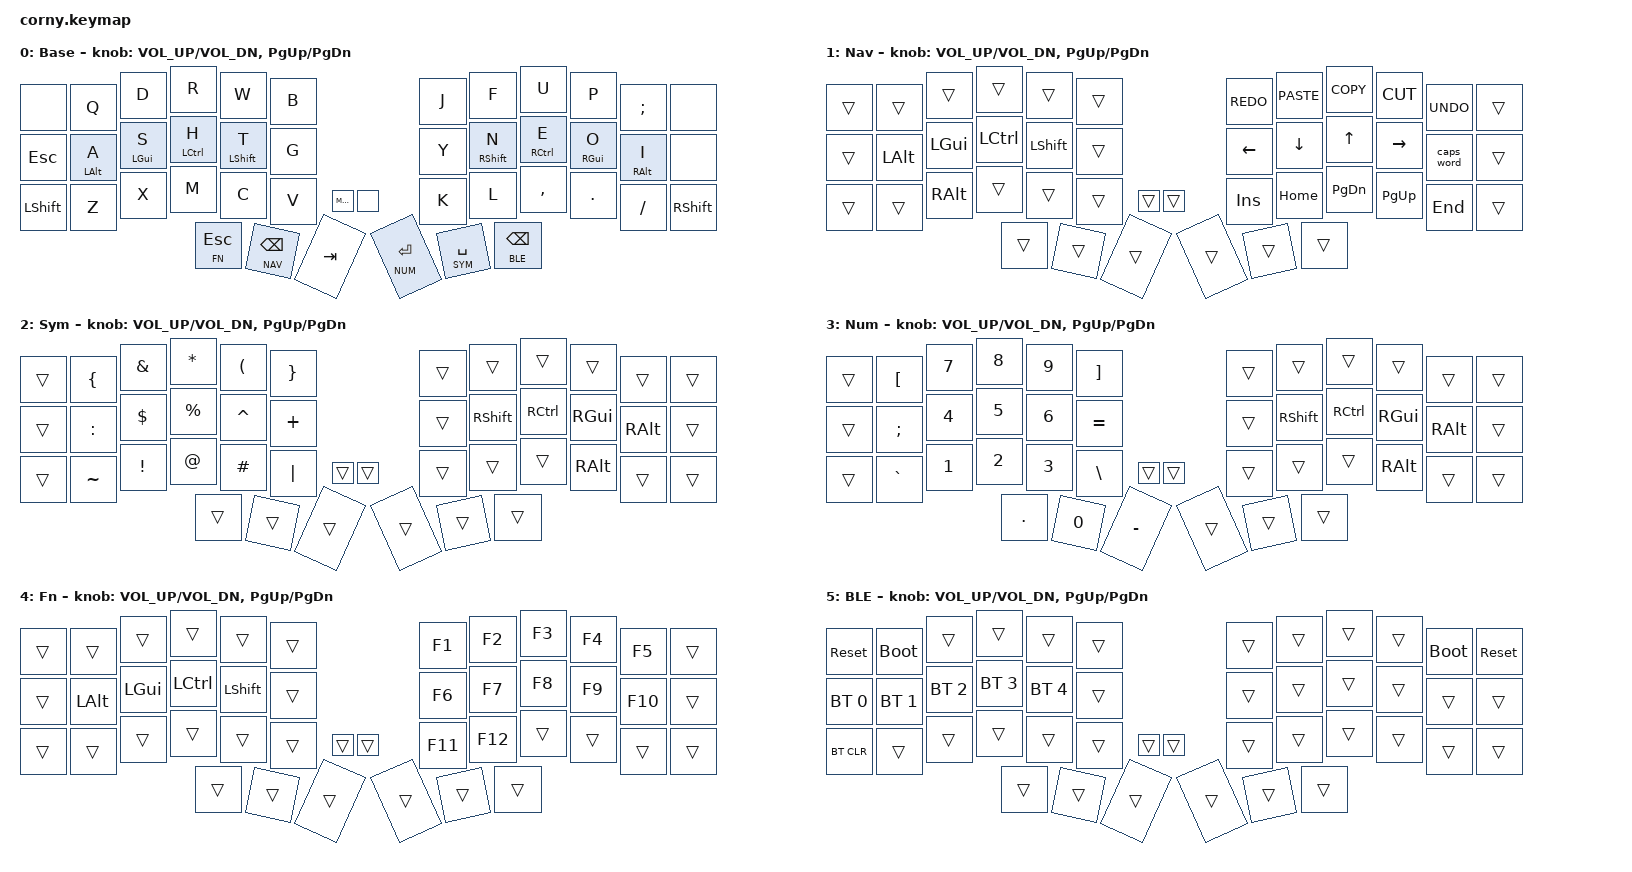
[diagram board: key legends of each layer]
#include <behaviors.dtsi>
#include <dt-bindings/zmk/keys.h>
#include <dt-bindings/zmk/bt.h>
#include <zmk-helpers/helper.h>
#include <zmk-helpers/key-labels/42.h>

#define BASE  0
#define NAV   1
#define SYM   2
#define NUM   3
#define FN    4
#define BLE   5

// Left-hand home row mods — triggered by right-side keys + right thumbs
ZMK_HOLD_TAP(hml,
    flavor = "balanced";
    tapping-term-ms = <280>;
    require-prior-idle-ms = <150>;
    hold-trigger-key-positions = <6 7 8 9 10 11 18 19 20 21 22 23 32 33 34 35 36 37 41 42 43>;
    hold-trigger-on-release;
    bindings = <&kp>, <&kp>;
)

// Right-hand home row mods — triggered by left-side keys + left thumbs
ZMK_HOLD_TAP(hmr,
    flavor = "balanced";
    tapping-term-ms = <280>;
    require-prior-idle-ms = <150>;
    hold-trigger-key-positions = <0 1 2 3 4 5 12 13 14 15 16 17 24 25 26 27 28 29 38 39 40>;
    hold-trigger-on-release;
    bindings = <&kp>, <&kp>;
)

/* ── Combos ───────────────────────────────────────────────── */

/* Navigation */
ZMK_COMBO(pgup_combo,       &kp PG_UP,       RT1 RT2)
ZMK_COMBO(pgdn_combo,       &kp PG_DN,       RT2 RT3)

/* Vim search */
ZMK_COMBO(fslash_combo,     &kp FSLH,        RM1 RM2)
ZMK_COMBO(qmark_combo,      &kp QMARK,       RM2 RM3)

/* Editing */
ZMK_COMBO(delete_word,      &kp LA(BSPC),    LB2 LB3)
ZMK_COMBO(esc_combo,        &kp ESC,         LM0 LM1)
ZMK_COMBO(tab_combo,        &kp TAB,         RM0 RM1)

/* Brackets */
ZMK_COMBO(paren_l,          &kp LPAR,        LT2 LT3)
ZMK_COMBO(paren_r,          &kp RPAR,        LT3 LT4)
ZMK_COMBO(brace_l,          &kp LBRC,        LB1 LB2)
ZMK_COMBO(brace_r,          &kp RBRC,        LT4 LT5)
ZMK_COMBO(bracket_l,        &kp LBKT,        LM2 LM3)
ZMK_COMBO(bracket_r,        &kp RBKT,        LM3 LM4)

/* App / window switching */
ZMK_COMBO(raycast,          &kp LG(SPACE),   LT3 RT3)

/* Tab navigation */
ZMK_COMBO(ctrl_shift_tab,   &kp LC(LS(TAB)), LT0 LT1)

/* Misc */
ZMK_COMBO(tmux_prefix,      &kp LC(T),       LB0 LB1)
ZMK_COMBO(opt_space,        &kp LA(SPACE),   LM4 RM4)
ZMK_COMBO(minus_combo,      &kp MINUS,       LM0 RM0, BASE)
ZMK_COMBO(under_combo,      &kp UNDER,       LM1 RM1, BASE)
ZMK_COMBO(squote,           &kp SQT,         LM2 RM2, BASE)
ZMK_COMBO(dquote,           &kp DQT,         LM3 RM3, BASE)

/ {

keymap {
  compatible = "zmk,keymap";

  // ── Base (Workman, 34-key Miryoku style) ─────────────────
  BASE_layer {
    display-name = "Base";
    bindings = <
// ╭────────┬────────┬────────┬────────┬────────┬────────╮   ╭────────┬────────┬────────┬────────┬────────┬────────╮
   &none     &kp Q    &kp D    &kp R    &kp W    &kp B        &kp J    &kp F    &kp U    &kp P    &kp SEMI &none
// ├────────┼────────┼────────┼────────┼────────┼────────┤   ├────────┼────────┼────────┼────────┼────────┼────────┤
   &kp ESC  &hml LALT A &hml LGUI S &hml LCTRL H &hml LSHFT T &kp G    &kp Y  &hmr RSHFT N &hmr RCTRL E &hmr RGUI O &hmr RALT I &none
// ├────────┼────────┼────────┼────────┼────────┼────────┼───┴───┬───┼────────┼────────┼────────┼────────┼────────┼────────┤
   &kp LSHFT &kp Z    &kp X    &kp M    &kp C    &kp V  &kp C_MUTE &none  &kp K  &kp L  &kp COMMA &kp DOT &kp FSLH &kp RSHFT
// ╰────────┴────────┴────────┼────────┼────────┼────────┤       ├────────┼────────┼────────┼────────┴────────┴────────╯
                         &lt FN ESC   &lt NAV BSPC  &kp TAB    &lt NUM RET &lt SYM SPACE &lt BLE BSPC
//                       ╰────────┴────────┴────────╯       ╰────────┴────────┴────────╯
    >;
    sensor-bindings = <&inc_dec_kp C_VOL_UP C_VOL_DN &inc_dec_kp PG_UP PG_DN>;
  };

  // ── NAV: navigation + editing on right hand ──────────────
  NAV_layer {
    display-name = "Nav";
    bindings = <
   &trans    &trans    &trans    &trans     &trans     &trans      &kp K_REDO  &kp K_PASTE  &kp K_COPY  &kp K_CUT  &kp K_UNDO  &trans
   &trans    &kp LALT  &kp LGUI  &kp LCTRL  &kp LSHFT  &trans      &kp LEFT    &kp DOWN     &kp UP      &kp RIGHT  &caps_word  &trans
   &trans    &trans    &kp RALT  &trans     &trans     &trans  &trans &trans  &kp INSERT  &kp HOME  &kp PG_DN  &kp PG_UP  &kp END  &trans
                                 &trans     &trans     &trans      &trans      &trans       &trans
    >;
    sensor-bindings = <&inc_dec_kp C_VOL_UP C_VOL_DN &inc_dec_kp PG_UP PG_DN>;
  };

  // ── SYM: symbols on left hand ────────────────────────────
  SYM_layer {
    display-name = "Sym";
    bindings = <
   &trans    &kp LBRC   &kp AMPS   &kp ASTRK  &kp LPAR   &kp RBRC    &trans  &trans     &trans     &trans    &trans    &trans
   &trans    &kp COLON  &kp DLLR   &kp PRCNT  &kp CARET  &kp PLUS    &trans  &kp RSHFT  &kp RCTRL  &kp RGUI  &kp RALT  &trans
   &trans    &kp TILDE  &kp EXCL   &kp AT     &kp HASH   &kp PIPE  &trans &trans  &trans  &trans  &trans  &kp RALT  &trans  &trans
                                   &trans     &trans     &trans      &trans  &trans     &trans
    >;
    sensor-bindings = <&inc_dec_kp C_VOL_UP C_VOL_DN &inc_dec_kp PG_UP PG_DN>;
  };

  // ── NUM: numpad on left hand ──────────────────────────────
  NUM_layer {
    display-name = "Num";
    bindings = <
   &trans    &kp LBKT   &kp N7     &kp N8     &kp N9     &kp RBKT    &trans  &trans     &trans     &trans    &trans    &trans
   &trans    &kp SEMI   &kp N4     &kp N5     &kp N6     &kp EQUAL   &trans  &kp RSHFT  &kp RCTRL  &kp RGUI  &kp RALT  &trans
   &trans    &kp GRAVE  &kp N1     &kp N2     &kp N3     &kp BSLH  &trans &trans  &trans  &trans  &trans  &kp RALT  &trans  &trans
                                   &kp DOT    &kp N0     &kp MINUS   &trans   &trans    &trans
    >;
    sensor-bindings = <&inc_dec_kp C_VOL_UP C_VOL_DN &inc_dec_kp PG_UP PG_DN>;
  };

  // ── MEDIA: media controls on right hand ──────────────────
  FN_layer {
    display-name = "Fn";
    bindings = <
// ╭────────┬────────┬────────┬────────┬────────┬────────╮   ╭────────┬────────┬────────┬────────┬────────┬────────╮
   &trans    &trans   &trans   &trans   &trans   &trans       &kp F1   &kp F2   &kp F3   &kp F4   &kp F5   &trans
// ├────────┼────────┼────────┼────────┼────────┼────────┤   ├────────┼────────┼────────┼────────┼────────┼────────┤
   &trans    &kp LALT &kp LGUI &kp LCTRL &kp LSHFT &trans     &kp F6   &kp F7   &kp F8   &kp F9   &kp F10  &trans
// ├────────┼────────┼────────┼────────┼────────┼────────┼───┴───┬───┼────────┼────────┼────────┼────────┼────────┼────────┤
   &trans    &trans   &trans   &trans   &trans   &trans  &trans &trans  &kp F11  &kp F12  &trans   &trans   &trans   &trans
// ╰────────┴────────┴────────┼────────┼────────┼────────┤       ├────────┼────────┼────────┼────────┴────────┴────────╯
                               &trans   &trans   &trans       &trans   &trans   &trans
    >;
    sensor-bindings = <&inc_dec_kp C_VOL_UP C_VOL_DN &inc_dec_kp PG_UP PG_DN>;
  };

  // ── BLE: bluetooth management ────────────────────────────
  BLE_layer {
    display-name = "BLE";
    bindings = <
   &sys_reset    &bootloader   &trans        &trans        &trans        &trans      &trans  &trans  &trans  &trans  &bootloader   &sys_reset
   &bt BT_SEL 0  &bt BT_SEL 1  &bt BT_SEL 2  &bt BT_SEL 3  &bt BT_SEL 4  &trans      &trans  &trans  &trans  &trans  &trans        &trans
   &bt BT_CLR    &trans        &trans        &trans        &trans        &trans  &trans &trans  &trans  &trans  &trans  &trans  &trans  &trans
                                             &trans        &trans        &trans      &trans  &trans  &trans
    >;
    sensor-bindings = <&inc_dec_kp C_VOL_UP C_VOL_DN &inc_dec_kp PG_UP PG_DN>;
  };

};

};
